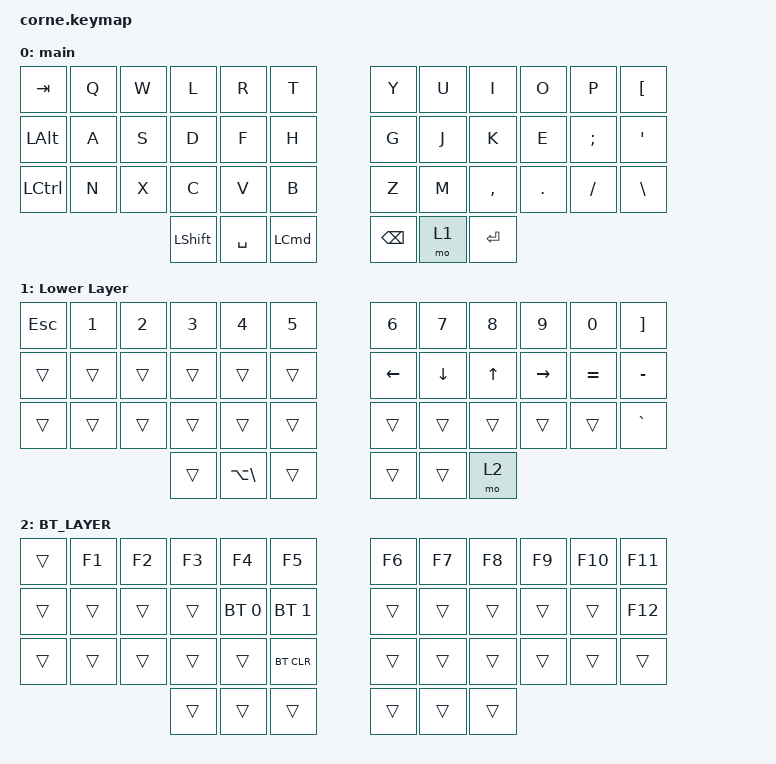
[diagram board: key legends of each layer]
/*
 * Copyright (c) 2020 The ZMK Contributors
 *
 * SPDX-License-Identifier: MIT
 */

#include <behaviors.dtsi>
#include <dt-bindings/zmk/bt.h>
#include <dt-bindings/zmk/keys.h>

/ {
    combos { compatible = "zmk,combos"; };

    keymap {
        compatible = "zmk,keymap";

        main {
            display-name = "main";

            // -----------------------------------------------------------------------------------------
            // |  TAB |  Q  |  W  |  E  |  R  |  T  |   |  Y  |  U   |  I  |  O  |  P  | BSPC |
            // | CTRL |  A  |  S  |  D  |  F  |  G  |   |  H  |  J   |  K  |  L  |  ;  |  '   |
            // | SHFT |  Z  |  X  |  C  |  V  |  B  |   |  N  |  M   |  ,  |  .  |  /  | ESC  |
            //                    | GUI | LWR | SPC |   | ENT | RSE  | ALT |

            bindings = <
&kp TAB    &kp Q  &kp W  &kp L           &kp R      &kp T       &kp Y          &kp U  &kp I      &kp O    &kp P     &kp LEFT_BRACKET
&kp LALT   &kp A  &kp S  &kp D           &kp F      &kp H       &kp G          &kp J  &kp K      &kp E    &kp SEMI  &kp SQT
&kp LCTRL  &kp N  &kp X  &kp C           &kp V      &kp B       &kp Z          &kp M  &kp COMMA  &kp DOT  &kp FSLH  &kp BACKSLASH
                         &kp LEFT_SHIFT  &kp SPACE  &kp LCMD    &kp BACKSPACE  &mo 1  &kp ENTER
            >;
        };

        lower_layer {
            display-name = "Lower Layer";

            // -----------------------------------------------------------------------------------------
            // |  TAB |  1  |  2  |  3  |  4  |  5  |   |  6  |  7  |  8  |  9  |  0  | BSPC |
            // | BTCLR| BT1 | BT2 | BT3 | BT4 | BT5 |   | LFT | DWN |  UP | RGT |     |      |
            // | SHFT |     |     |     |     |     |   |     |     |     |     |     |      |
            //                    | GUI |     | SPC |   | ENT |     | ALT |

            bindings = <
&kp ESCAPE  &kp N1  &kp N2  &kp N3  &kp N4             &kp N5    &kp N6    &kp N7    &kp N8  &kp N9     &kp N0     &kp RIGHT_BRACKET
&trans      &trans  &trans  &trans  &trans             &trans    &kp LEFT  &kp DOWN  &kp UP  &kp RIGHT  &kp EQUAL  &kp MINUS
&trans      &trans  &trans  &trans  &trans             &trans    &trans    &trans    &trans  &trans     &trans     &kp GRAVE
                            &trans  &kp LA(BACKSLASH)  &trans    &trans    &trans    &mo 2
            >;
        };

        BT_LAYER {
            bindings = <
&trans  &kp F1  &kp F2  &kp F3  &kp F4        &kp F5          &kp F6  &kp F7  &kp F8  &kp F9  &kp F10  &kp F11
&trans  &trans  &trans  &trans  &bt BT_SEL 0  &bt BT_SEL 1    &trans  &trans  &trans  &trans  &trans   &kp F12
&trans  &trans  &trans  &trans  &trans        &bt BT_CLR      &trans  &trans  &trans  &trans  &trans   &trans
                        &trans  &trans        &trans          &trans  &trans  &trans
            >;
        };
    };
};
